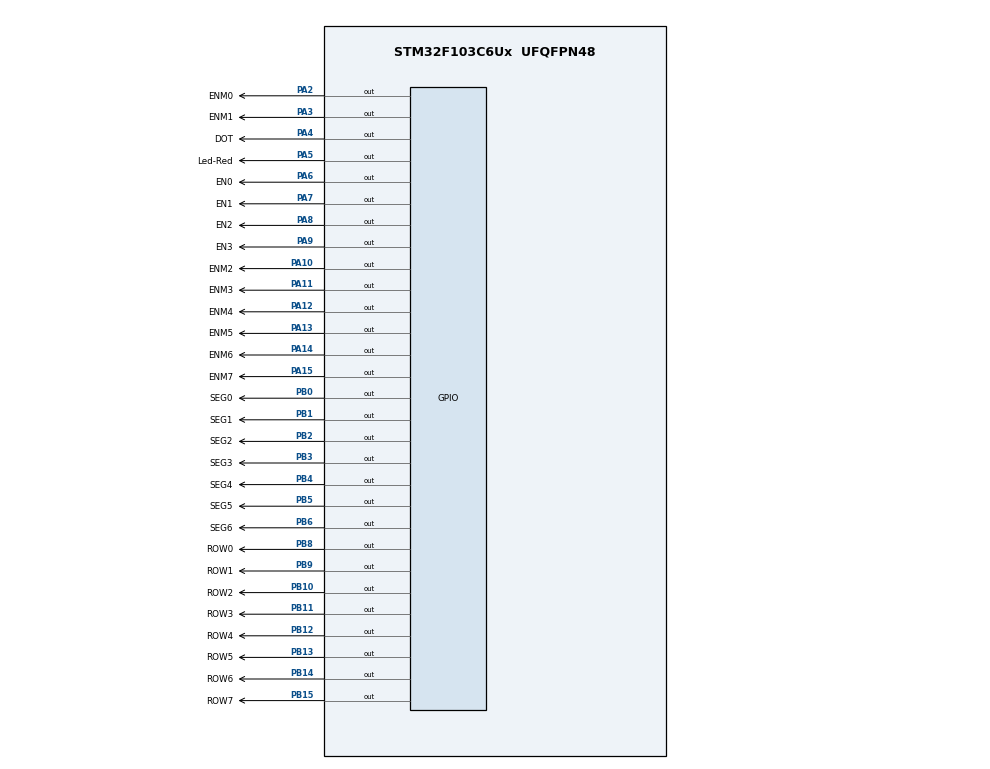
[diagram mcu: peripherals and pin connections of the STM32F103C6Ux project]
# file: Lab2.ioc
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Mcu.Family=STM32F1
Mcu.Name=STM32F103C6Ux
Mcu.Package=UFQFPN48
NVIC.PriorityGroup=NVIC_PRIORITYGROUP_4
NVIC.TIM2_IRQn=true\:0\:0\:false\:false\:true\:true\:true
PA10.GPIO_Label=ENM2
PA10.Signal=GPIO_Output
PA11.GPIO_Label=ENM3
PA11.Signal=GPIO_Output
PA12.GPIO_Label=ENM4
PA12.Signal=GPIO_Output
PA13.GPIO_Label=ENM5
PA13.Signal=GPIO_Output
PA14.GPIO_Label=ENM6
PA14.Signal=GPIO_Output
PA15.GPIO_Label=ENM7
PA15.Signal=GPIO_Output
PA2.GPIO_Label=ENM0
PA2.Signal=GPIO_Output
PA3.GPIO_Label=ENM1
PA3.Signal=GPIO_Output
PA4.GPIO_Label=DOT
PA4.Signal=GPIO_Output
PA5.GPIO_Label=Led-Red
PA5.Signal=GPIO_Output
PA6.GPIO_Label=EN0
PA6.Signal=GPIO_Output
PA7.GPIO_Label=EN1
PA7.Signal=GPIO_Output
PA8.GPIO_Label=EN2
PA8.Signal=GPIO_Output
PA9.GPIO_Label=EN3
PA9.Signal=GPIO_Output
PB0.GPIO_Label=SEG0
PB0.Signal=GPIO_Output
PB1.GPIO_Label=SEG1
PB1.Signal=GPIO_Output
PB10.GPIO_Label=ROW2
PB10.Signal=GPIO_Output
PB11.GPIO_Label=ROW3
PB11.Signal=GPIO_Output
PB12.GPIO_Label=ROW4
PB12.Signal=GPIO_Output
PB13.GPIO_Label=ROW5
PB13.Signal=GPIO_Output
PB14.GPIO_Label=ROW6
PB14.Signal=GPIO_Output
PB15.GPIO_Label=ROW7
PB15.Signal=GPIO_Output
PB2.GPIO_Label=SEG2
PB2.Signal=GPIO_Output
PB3.GPIO_Label=SEG3
PB3.Signal=GPIO_Output
PB4.GPIO_Label=SEG4
PB4.Signal=GPIO_Output
PB5.GPIO_Label=SEG5
PB5.Signal=GPIO_Output
PB6.GPIO_Label=SEG6
PB6.Signal=GPIO_Output
PB8.GPIO_Label=ROW0
PB8.Signal=GPIO_Output
PB9.GPIO_Label=ROW1
PB9.Signal=GPIO_Output
ProjectManager.HeapSize=0x200
ProjectManager.StackSize=0x400
ProjectManager.TargetToolchain=STM32CubeIDE
RCC.APB1Freq_Value=8000000
RCC.APB2Freq_Value=8000000
TIM2.Period=9
TIM2.Prescaler=7999
VP_SYS_VS_ND.Mode=No_Debug
VP_TIM2_VS_ClockSourceINT.Mode=Internal
board=custom

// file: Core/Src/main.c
/* USER CODE BEGIN Header */
/**
  * @file           : main.c
  * @brief          : Main program body with Direct Exercise Multiplexer
  */
/* USER CODE END Header */

#include "main.h"

/* USER CODE BEGIN Includes */

#define ACTIVE_EXERCISE 4

extern void ex1_init(void);  extern void ex1_loop(void);  extern void ex1_timer_isr(void);
extern void ex2_init(void);  extern void ex2_loop(void);  extern void ex2_timer_isr(void);
extern void ex3_init(void);  extern void ex3_loop(void);  extern void ex3_timer_isr(void);
extern void ex4_init(void);  extern void ex4_loop(void);  extern void ex4_timer_isr(void);
extern void ex5_init(void);  extern void ex5_loop(void);  extern void ex5_timer_isr(void);
extern void ex8_init(void);  extern void ex8_loop(void);  extern void ex8_timer_isr(void);
extern void ex7_init(void);  extern void ex7_loop(void);  extern void ex3_timer_isr(void);
extern void ex9_init(void);  extern void ex9_loop(void);  extern void ex9_timer_isr(void);
extern void ex10_init(void); extern void ex10_loop(void); extern void ex10_timer_isr(void);

/* USER CODE END Includes */

TIM_HandleTypeDef htim2;

void SystemClock_Config(void);
static void MX_GPIO_Init(void);
static void MX_TIM2_Init(void);

int main(void)
{
  /* MCU Configuration--------------------------------------------------------*/
  HAL_Init();
  SystemClock_Config();
  MX_GPIO_Init();
  MX_TIM2_Init();

  /* USER CODE BEGIN 2 */
  HAL_TIM_Base_Start_IT(&htim2);

  /* MULTIPLEXER: Initialize the active exercise */
#if (ACTIVE_EXERCISE == 1)
  ex1_init();
#elif (ACTIVE_EXERCISE == 2)
  ex2_init();
#elif (ACTIVE_EXERCISE == 3)
  ex3_init();
#elif (ACTIVE_EXERCISE == 4)
  ex4_init();
#elif (ACTIVE_EXERCISE == 5)
  ex5_init();
#elif (ACTIVE_EXERCISE == 7)
  ex7_init();
#elif (ACTIVE_EXERCISE == 8)
  ex8_init();
#elif (ACTIVE_EXERCISE == 9)
  ex9_init();
#elif (ACTIVE_EXERCISE == 10)
  ex10_init();
#endif
  /* USER CODE END 2 */

  /* Infinite loop */
  /* USER CODE BEGIN WHILE */
  while (1)
  {
    /* MULTIPLEXER: Run the active exercise loop */
#if (ACTIVE_EXERCISE == 1)
    ex1_loop();
#elif (ACTIVE_EXERCISE == 2)
    ex2_loop();
#elif (ACTIVE_EXERCISE == 3)
    ex3_loop();
#elif (ACTIVE_EXERCISE == 4)
  ex4_loop();
#elif (ACTIVE_EXERCISE == 5)
  ex5_loop();
#elif (ACTIVE_EXERCISE == 7)
  ex7_loop();
#elif (ACTIVE_EXERCISE == 8)
  ex8_loop();
#elif (ACTIVE_EXERCISE == 9)
    ex9_loop();
#elif (ACTIVE_EXERCISE == 10)
    ex10_loop();
#endif
    /* USER CODE END WHILE */

  }
}

void HAL_TIM_PeriodElapsedCallback(TIM_HandleTypeDef *htim)
{
  /* USER CODE BEGIN Callback 0 */
  if (htim->Instance == TIM2) {

    /* MULTIPLEXER: Run the active exercise timer interrupt */
#if (ACTIVE_EXERCISE == 1)
    ex1_timer_isr();
#elif (ACTIVE_EXERCISE == 2)
    ex2_timer_isr();
#elif (ACTIVE_EXERCISE == 3)
    ex3_timer_isr();
#elif (ACTIVE_EXERCISE == 4)
  ex4_timer_isr();
#elif (ACTIVE_EXERCISE == 5)
  ex5_timer_isr();
#elif (ACTIVE_EXERCISE == 7)
  ex7_timer_isr();
#elif (ACTIVE_EXERCISE == 8)
  ex8_timer_isr();
#elif (ACTIVE_EXERCISE == 9)
    ex9_timer_isr();
#elif (ACTIVE_EXERCISE == 10)
    ex10_timer_isr();
#endif

  }
  /* USER CODE END Callback 0 */
}

void SystemClock_Config(void)
{
  RCC_OscInitTypeDef RCC_OscInitStruct = {0};
  RCC_ClkInitTypeDef RCC_ClkInitStruct = {0};

  RCC_OscInitStruct.OscillatorType = RCC_OSCILLATORTYPE_HSI;
  RCC_OscInitStruct.HSIState = RCC_HSI_ON;
  RCC_OscInitStruct.HSICalibrationValue = RCC_HSICALIBRATION_DEFAULT;
  RCC_OscInitStruct.PLL.PLLState = RCC_PLL_NONE;
  if (HAL_RCC_OscConfig(&RCC_OscInitStruct) != HAL_OK)
  {
    Error_Handler();
  }

  RCC_ClkInitStruct.ClockType = RCC_CLOCKTYPE_HCLK|RCC_CLOCKTYPE_SYSCLK
                              |RCC_CLOCKTYPE_PCLK1|RCC_CLOCKTYPE_PCLK2;
  RCC_ClkInitStruct.SYSCLKSource = RCC_SYSCLKSOURCE_HSI;
  RCC_ClkInitStruct.AHBCLKDivider = RCC_SYSCLK_DIV1;
  RCC_ClkInitStruct.APB1CLKDivider = RCC_HCLK_DIV1;
  RCC_ClkInitStruct.APB2CLKDivider = RCC_HCLK_DIV1;

  if (HAL_RCC_ClockConfig(&RCC_ClkInitStruct, FLASH_LATENCY_0) != HAL_OK)
  {
    Error_Handler();
  }
}

static void MX_TIM2_Init(void)
{
  TIM_ClockConfigTypeDef sClockSourceConfig = {0};
  TIM_MasterConfigTypeDef sMasterConfig = {0};

  htim2.Instance = TIM2;
  htim2.Init.Prescaler = 7999;
  htim2.Init.CounterMode = TIM_COUNTERMODE_UP;
  htim2.Init.Period = 9;
  htim2.Init.ClockDivision = TIM_CLOCKDIVISION_DIV1;
  htim2.Init.AutoReloadPreload = TIM_AUTORELOAD_PRELOAD_DISABLE;
  if (HAL_TIM_Base_Init(&htim2) != HAL_OK)
  {
    Error_Handler();
  }
  sClockSourceConfig.ClockSource = TIM_CLOCKSOURCE_INTERNAL;
  if (HAL_TIM_ConfigClockSource(&htim2, &sClockSourceConfig) != HAL_OK)
  {
    Error_Handler();
  }
  sMasterConfig.MasterOutputTrigger = TIM_TRGO_RESET;
  sMasterConfig.MasterSlaveMode = TIM_MASTERSLAVEMODE_DISABLE;
  if (HAL_TIMEx_MasterConfigSynchronization(&htim2, &sMasterConfig) != HAL_OK)
  {
    Error_Handler();
  }
}

static void MX_GPIO_Init(void)
{
  GPIO_InitTypeDef GPIO_InitStruct = {0};

  __HAL_RCC_GPIOA_CLK_ENABLE();
  __HAL_RCC_GPIOB_CLK_ENABLE();

  HAL_GPIO_WritePin(GPIOA, ENM0_Pin|ENM1_Pin|DOT_Pin|Led_Red_Pin
                          |EN0_Pin|EN1_Pin|EN2_Pin|EN3_Pin
                          |ENM2_Pin|ENM3_Pin|ENM4_Pin|ENM5_Pin
                          |ENM6_Pin|ENM7_Pin, GPIO_PIN_RESET);

  HAL_GPIO_WritePin(GPIOB, SEG0_Pin|SEG1_Pin|SEG2_Pin|ROW2_Pin
                          |ROW3_Pin|ROW4_Pin|ROW5_Pin|ROW6_Pin
                          |ROW7_Pin|SEG3_Pin|SEG4_Pin|SEG5_Pin
                          |SEG6_Pin|ROW0_Pin|ROW1_Pin, GPIO_PIN_RESET);

  GPIO_InitStruct.Pin = ENM0_Pin|ENM1_Pin|DOT_Pin|Led_Red_Pin
                          |EN0_Pin|EN1_Pin|EN2_Pin|EN3_Pin
                          |ENM2_Pin|ENM3_Pin|ENM4_Pin|ENM5_Pin
                          |ENM6_Pin|ENM7_Pin;
  GPIO_InitStruct.Mode = GPIO_MODE_OUTPUT_PP;
  GPIO_InitStruct.Pull = GPIO_NOPULL;
  GPIO_InitStruct.Speed = GPIO_SPEED_FREQ_LOW;
  HAL_GPIO_Init(GPIOA, &GPIO_InitStruct);

  GPIO_InitStruct.Pin = SEG0_Pin|SEG1_Pin|SEG2_Pin|ROW2_Pin
                          |ROW3_Pin|ROW4_Pin|ROW5_Pin|ROW6_Pin
                          |ROW7_Pin|SEG3_Pin|SEG4_Pin|SEG5_Pin
                          |SEG6_Pin|ROW0_Pin|ROW1_Pin;
  GPIO_InitStruct.Mode = GPIO_MODE_OUTPUT_PP;
  GPIO_InitStruct.Pull = GPIO_NOPULL;
  GPIO_InitStruct.Speed = GPIO_SPEED_FREQ_LOW;
  HAL_GPIO_Init(GPIOB, &GPIO_InitStruct);
}

void Error_Handler(void)
{
  __disable_irq();
  while (1)
  {
  }
}
